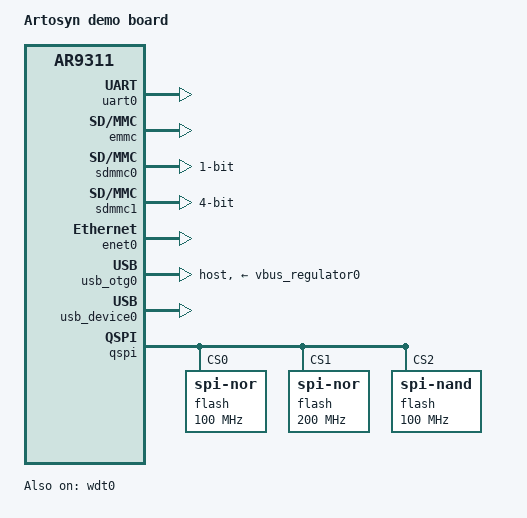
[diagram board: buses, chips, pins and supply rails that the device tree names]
/*
 * Copyright 2015 Hans de Goede <hdegoede@redhat.com>
 *
 * Minimal dts file for the MSI Primo81 for u-boot only
 *
 * SPDX-License-Identifier:     GPL-2.0+ or X11
 */

/dts-v1/;

#include "artosyn-ar9311.dtsi"

/ {
	model = "Artosyn demo board";
	compatible = "artosyn, sirius-demo";

	aliases {
		console = &uart0;
		serial0 = &uart0;
	};

	chosen {
		stdout-path = "serial0:115200n8";
	};

};

&uart0 {
	u-boot,dm-pre-reloc;
	status = "okay";
};

&gpio0 {
	u-boot,dm-pre-reloc;
};

&vqmmc_sdhci {
	u-boot,dm-pre-reloc;
	gpios = <&portc0 25 GPIO_ACTIVE_HIGH>;
};

&emmc {
	u-boot,dm-pre-reloc;
//	max-frequency = <200000000>;
//	/delete-property/voltage-ranges;
//	/delete-property/no-1-8-v;
//	vqmmc-supply = <&vqmmc_sdhci>;
//	mmc-hs200-1_8v;
	status = "okay";
};

&sdmmc0 {
	u-boot,dm-pre-reloc;
	max-frequency = <50000000>;
	fifo-depth = <128>;
	bus-width = <1>;
	status = "okay";
};

&sdmmc1 {
	u-boot,dm-pre-reloc;
	max-frequency = <50000000>;
	fifo-depth = <128>;
	bus-width = <4>;
	status = "okay";
};

&enet0 {
	status = "okay";
};

&usb_otg0 {
	vbus-supply = <&vbus_regulator0>;
	dr_mode = "host";
	status = "okay";
};

&usb_device0 {
	status = "okay";
};

&wdt0 {
	u-boot,dm-pre-reloc;
	status = "okay";
};

&qspi {
	u-boot,dm-pre-reloc;
	status = "okay";

	flash@0 {
		u-boot,dm-pre-reloc;
		#address-cells = <1>;
		#size-cells = <1>;
		compatible = "jedec,spi-nor";
		reg = <0>;
		spi-max-frequency = <100000000>;
		spi-tx-bus-width = <4>;
		spi-rx-bus-width = <4>;
	};

	flash@1 {
		u-boot,dm-pre-reloc;
		#address-cells = <1>;
		#size-cells = <1>;
		compatible = "jedec,spi-nor";
		reg = <1>;
		spi-max-frequency = <200000000>;
		spi-tx-bus-width = <4>;
		spi-rx-bus-width = <4>;
	};

	flash@2 {
		u-boot,dm-pre-reloc;
		#address-cells = <1>;
		#size-cells = <1>;
		compatible = "spi-nand";
		reg = <2>;
		spi-max-frequency = <100000000>;
		spi-tx-bus-width = <4>;
		spi-rx-bus-width = <4>;
	};
};
